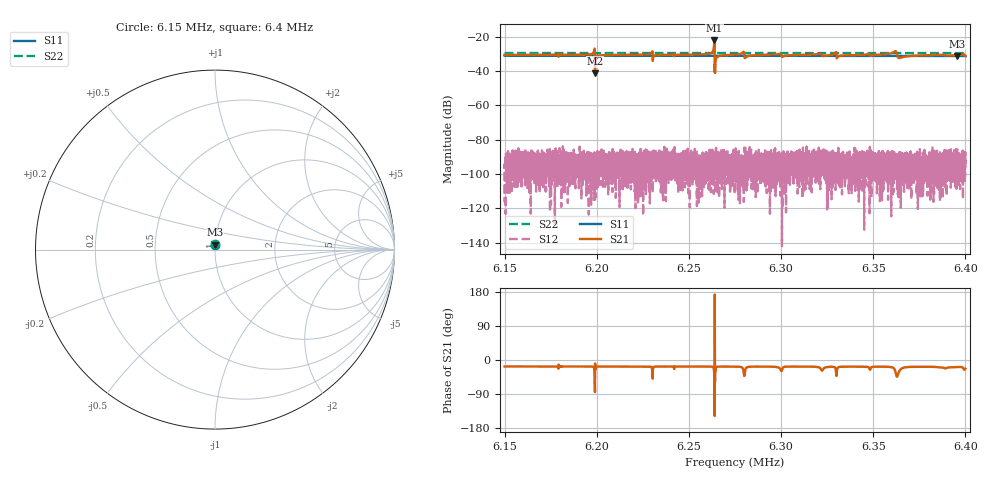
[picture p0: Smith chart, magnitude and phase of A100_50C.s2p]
!CETC41,AV3656A,ZGL00048,1.3.2
!Calibration ON (Full Solt 2-Port(Omit Isolation))
!Measurements: S11 S21 S12 S22
!2025-04-18 23:00
# Hz  S  dB  R 50.000
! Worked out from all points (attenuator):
!   6401 points, 6.15 MHz to 6.4 MHz, reference 50 ohm
!   highest |S21| = -22.24 dB at 6.2639 MHz (marker M1); lowest = -41.5 dB at 6.1991 MHz (marker M2)
!   lowest |S11| = -31.3 dB at 6.3957 MHz (marker M3), VSWR 1.06, Z = 49.9 + j2.72 ohm
!   |S11| at or under -10 dB: start of sweep to end of sweep
!   |S22| runs from -29.6 to -29.5 dB; largest |S21 - S12| = 0.077
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6150000  -31.11 84.6  -30.68 -17.2  -97.12 -3.6  -29.54 91.1
6191680  -31.15 85.6  -30.53 -17.2  -114.25 104.7  -29.55 92.1
6197695  -31.16 85.7  -29.99 -17.4  -99.94 69.7  -29.56 92.1
6199063  -31.16 85.8  -41.48 -41.7  -115.78 -33.1  -29.55 92.2
6200273  -31.16 85.8  -31.20 -17.4  -91.06 -50.7  -29.54 92.2
6233359  -31.15 86.5  -30.77 -17.4  -93.70 159.8  -29.55 92.8
6259141  -31.18 87.2  -30.21 -17.3  -95.71 42.0  -29.56 93.4
6262734  -31.18 87.2  -29.04 -17.9  -93.73 -172.4  -29.57 93.5
6263867  -31.18 87.3  -22.24 -77.6  -100.45 113.0  -29.56 93.6
6265273  -31.19 87.2  -31.93 -17.8  -92.89 -177.5  -29.55 93.6
6267070  -31.19 87.3  -31.12 -17.5  -95.78 117.4  -29.56 93.6
6275000  -31.20 87.5  -30.50 -17.6  -103.11 68.7  -29.56 93.7
6278750  -31.20 87.7  -29.68 -19.3  -98.35 162.3  -29.56 93.9
6281367  -31.19 87.6  -31.68 -19.5  -94.48 67.6  -29.57 93.9
6316680  -31.22 88.5  -30.45 -17.7  -91.23 97.8  -29.57 94.5
6328750  -31.25 88.8  -30.17 -18.2  -94.83 71.2  -29.58 94.8
6331328  -31.24 88.9  -31.46 -18.7  -93.01 2.1  -29.57 94.9
6358359  -31.26 89.5  -30.08 -18.1  -98.56 134.8  -29.57 95.4
6361602  -31.26 89.5  -28.65 -25.0  -95.10 130.3  -29.58 95.5
6364609  -31.26 89.6  -32.35 -25.8  -96.06 94.8  -29.58 95.6
6395703  -31.30 90.3  -30.83 -18.5  -96.65 62.5  -29.59 96.1
6400000  -31.29 90.5  -31.35 -22.7  -89.78 -32.2  -29.59 96.3
